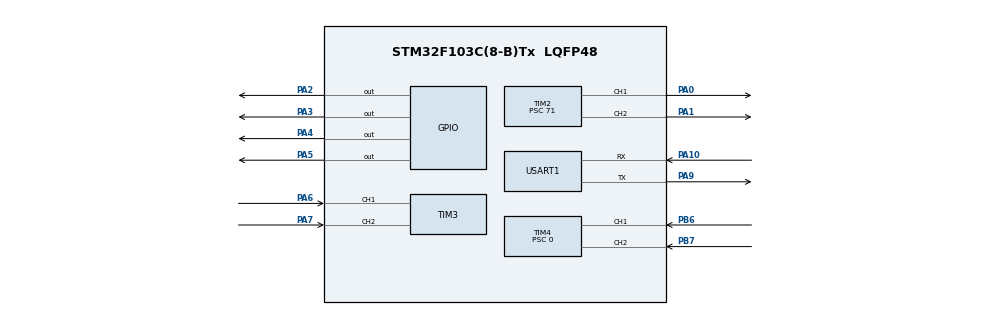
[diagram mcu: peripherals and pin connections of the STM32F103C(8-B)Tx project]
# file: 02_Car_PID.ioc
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Mcu.Family=STM32F1
Mcu.Name=STM32F103C(8-B)Tx
Mcu.Package=LQFP48
NVIC.PriorityGroup=NVIC_PRIORITYGROUP_4
NVIC.TIM1_UP_IRQn=true\:0\:0\:false\:false\:true\:true\:true\:true
NVIC.TIM4_IRQn=true\:0\:0\:false\:false\:true\:true\:true\:true
PA0-WKUP.Signal=S_TIM2_CH1_ETR
PA1.Signal=S_TIM2_CH2
PA10.Mode=Asynchronous
PA10.Signal=USART1_RX
PA13.Mode=Serial_Wire
PA13.Signal=SYS_JTMS-SWDIO
PA14.Mode=Serial_Wire
PA14.Signal=SYS_JTCK-SWCLK
PA2.Signal=GPIO_Output
PA3.Signal=GPIO_Output
PA4.Signal=GPIO_Output
PA5.Signal=GPIO_Output
PA6.Signal=S_TIM3_CH1
PA7.Signal=S_TIM3_CH2
PA9.Mode=Asynchronous
PA9.Signal=USART1_TX
PB6.Signal=S_TIM4_CH1
PB7.Signal=S_TIM4_CH2
ProjectManager.HeapSize=0x200
ProjectManager.StackSize=0x400
ProjectManager.TargetToolchain=STM32CubeIDE
RCC.APB1Freq_Value=8000000
RCC.APB2Freq_Value=8000000
SH.S_TIM2_CH1_ETR.0=TIM2_CH1,PWM Generation1 CH1
SH.S_TIM2_CH2.0=TIM2_CH2,PWM Generation2 CH2
SH.S_TIM3_CH1.0=TIM3_CH1,Encoder_Interface
SH.S_TIM3_CH2.0=TIM3_CH2,Encoder_Interface
SH.S_TIM4_CH1.0=TIM4_CH1,Encoder_Interface
SH.S_TIM4_CH2.0=TIM4_CH2,Encoder_Interface
TIM1.Period=99
TIM1.Prescaler=7199
TIM2.Channel-PWM\ Generation1\ CH1=TIM_CHANNEL_1
TIM2.Channel-PWM\ Generation2\ CH2=TIM_CHANNEL_2
TIM2.Period=999
TIM2.Prescaler=71
TIM4.Prescaler=0
USART1.VirtualMode=VM_ASYNC
VP_TIM1_VS_ClockSourceINT.Mode=Internal
board=custom

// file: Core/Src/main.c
/* USER CODE BEGIN Header */
/**
  ******************************************************************************
  * @file           : main.c
  * @brief          : Main program body
  ******************************************************************************
  * @attention
  *
  * Copyright (c) 2026 STMicroelectronics.
  * All rights reserved.
  *
  * This software is licensed under terms that can be found in the LICENSE file
  * in the root directory of this software component.
  * If no LICENSE file comes with this software, it is provided AS-IS.
  *
  ******************************************************************************
  */
/* USER CODE END Header */
#include "main.h"

/* USER CODE BEGIN Includes */
#include <stdio.h>
#include <string.h>

/* USER CODE END Includes */

TIM_HandleTypeDef htim1;
TIM_HandleTypeDef htim2;
TIM_HandleTypeDef htim3;
TIM_HandleTypeDef htim4;

UART_HandleTypeDef huart1;

/* USER CODE BEGIN PV */
typedef struct {
    float Kp, Ki, Kd;
    float target;
    float error, last_error;
    float integral;
    float output;
    float output_max;
} PID;

PID left_pid;
volatile float left_current_rpm = 0;
PID right_pid;
volatile float right_current_rpm = 0;
volatile uint8_t pid_ready = 0;
#define PULSES_PER_REV 1456.0f

/* USER CODE END PV */

void SystemClock_Config(void);
static void MX_GPIO_Init(void);
static void MX_TIM1_Init(void);
static void MX_TIM2_Init(void);
static void MX_TIM3_Init(void);
static void MX_TIM4_Init(void);
static void MX_USART1_UART_Init(void);

/* USER CODE BEGIN 0 */
void PID_Calc(PID *pid, float current_rpm)
{
    pid->error = pid->target - current_rpm;
    pid->integral += pid->error;

    if (pid->integral > 500.0f) pid->integral = 500.0f;
    if (pid->integral < -100.0f) pid->integral = -100.0f;

    float output = 275.0f;
    output += pid->Kp * pid->error;
    output += pid->Ki * pid->integral;
    output += pid->Kd * (pid->error - pid->last_error);

    if (output > 900.0f) output = 900.0f;
    if (output < 0.0f)   output = 0.0f;

    pid->output = output;
    pid->last_error = pid->error;
}
/* USER CODE END 0 */

int main(void)
{

  /* MCU Configuration--------------------------------------------------------*/

  /* Reset of all peripherals, Initializes the Flash interface and the Systick. */
  HAL_Init();

  /* Configure the system clock */
  SystemClock_Config();

  /* Initialize all configured peripherals */
  MX_GPIO_Init();
  MX_TIM1_Init();
  MX_TIM2_Init();
  MX_TIM3_Init();
  MX_TIM4_Init();
  MX_USART1_UART_Init();
  /* USER CODE BEGIN 2 */
  // 手动开启编码器引脚上拉
  GPIOA->ODR |= (GPIO_PIN_6 | GPIO_PIN_7);
  GPIOB->ODR |= (GPIO_PIN_6 | GPIO_PIN_7);

  // 启动编码器：左轮TIM3，右轮TIM4
  HAL_TIM_Encoder_Start(&htim3, TIM_CHANNEL_ALL);
  HAL_TIM_Encoder_Start(&htim4, TIM_CHANNEL_ALL);

  // 启动PWM
  HAL_TIM_PWM_Start(&htim2, TIM_CHANNEL_1);
  HAL_TIM_PWM_Start(&htim2, TIM_CHANNEL_2);

  // 启动PID定时中断（TIM1，10ms）
  HAL_TIM_Base_Start_IT(&htim1);

  // 左轮PID参数
  left_pid.Kp = 2.5f;
  left_pid.Ki = 0.2f;
  left_pid.Kd = 0.1f;
  left_pid.target = 100.0f;
  left_pid.output_max = 999.0f;
  left_pid.integral = 0;
  left_pid.last_error = 0;

  // 右轮PID参数（Kp和Ki调大，给右轮更多动力）
  right_pid.Kp = 2.0;   // 从1.5调大到2.5
  right_pid.Ki = 0.3f;   // 从0.2调大到0.3
  right_pid.Kd = 0.1f;
  right_pid.target = 100.0f;
  right_pid.output_max = 999.0f;
  right_pid.integral = 0;
  right_pid.last_error = 0;

  // 方向：正转
  HAL_GPIO_WritePin(GPIOA, GPIO_PIN_2, GPIO_PIN_SET);
  HAL_GPIO_WritePin(GPIOA, GPIO_PIN_3, GPIO_PIN_RESET);
  HAL_GPIO_WritePin(GPIOA, GPIO_PIN_4, GPIO_PIN_SET);
  HAL_GPIO_WritePin(GPIOA, GPIO_PIN_5, GPIO_PIN_RESET);

  // 启动消息
  char *msg = "PID Ready\r\n";
  HAL_UART_Transmit(&huart1, (uint8_t*)msg, strlen(msg), HAL_MAX_DELAY);
  /* USER CODE END 2 */

  /* Infinite loop */
  /* USER CODE BEGIN WHILE */
  while (1)
  {
	  if (pid_ready)
	    {
	      pid_ready = 0;

	      // 左轮编码器（TIM3）
	      static int32_t left_last = 0;
	      int32_t left_now = __HAL_TIM_GET_COUNTER(&htim3);
	      int32_t left_delta = left_now - left_last;
	      left_last = left_now;

	      if (left_delta > 80 || left_delta < -80) {
	          left_delta = 0;
	      }
	      left_current_rpm = -(left_delta * 6000.0f) / PULSES_PER_REV;

	      // 左轮PID计算
	      PID_Calc(&left_pid, left_current_rpm);
	      __HAL_TIM_SET_COMPARE(&htim2, TIM_CHANNEL_1, (uint16_t)left_pid.output);

	      // 右轮直接复制左轮PWM，不读编码器
	      __HAL_TIM_SET_COMPARE(&htim2, TIM_CHANNEL_2, (uint16_t)left_pid.output);

	      // 打印左轮转速
	      static uint32_t cnt = 0;
	      cnt++;
	      if (cnt >= 50)
	      {
	        cnt = 0;
	        int32_t la = (int32_t)(left_current_rpm * 100);
	        char buf[40];
	        int len;
	        if (la < 0) {
	          la = -la;
	          len = sprintf(buf, "Speed: -%ld.%02ld\r\n", la / 100, la % 100);
	        } else {
	          len = sprintf(buf, "Speed: %ld.%02ld\r\n", la / 100, la % 100);
	        }
	        HAL_UART_Transmit(&huart1, (uint8_t*)buf, len, HAL_MAX_DELAY);
	      }
	    }
    /* USER CODE END WHILE */
  }
  }

void SystemClock_Config(void)
{
  RCC_OscInitTypeDef RCC_OscInitStruct = {0};
  RCC_ClkInitTypeDef RCC_ClkInitStruct = {0};

  /** Initializes the RCC Oscillators according to the specified parameters
  * in the RCC_OscInitTypeDef structure.
  */
  RCC_OscInitStruct.OscillatorType = RCC_OSCILLATORTYPE_HSI;
  RCC_OscInitStruct.HSIState = RCC_HSI_ON;
  RCC_OscInitStruct.HSICalibrationValue = RCC_HSICALIBRATION_DEFAULT;
  RCC_OscInitStruct.PLL.PLLState = RCC_PLL_NONE;
  if (HAL_RCC_OscConfig(&RCC_OscInitStruct) != HAL_OK)
  {
    Error_Handler();
  }

  /** Initializes the CPU, AHB and APB buses clocks
  */
  RCC_ClkInitStruct.ClockType = RCC_CLOCKTYPE_HCLK|RCC_CLOCKTYPE_SYSCLK
                              |RCC_CLOCKTYPE_PCLK1|RCC_CLOCKTYPE_PCLK2;
  RCC_ClkInitStruct.SYSCLKSource = RCC_SYSCLKSOURCE_HSI;
  RCC_ClkInitStruct.AHBCLKDivider = RCC_SYSCLK_DIV1;
  RCC_ClkInitStruct.APB1CLKDivider = RCC_HCLK_DIV1;
  RCC_ClkInitStruct.APB2CLKDivider = RCC_HCLK_DIV1;

  if (HAL_RCC_ClockConfig(&RCC_ClkInitStruct, FLASH_LATENCY_0) != HAL_OK)
  {
    Error_Handler();
  }
}

static void MX_TIM1_Init(void)
{

  TIM_ClockConfigTypeDef sClockSourceConfig = {0};
  TIM_MasterConfigTypeDef sMasterConfig = {0};

  htim1.Instance = TIM1;
  htim1.Init.Prescaler = 7199;
  htim1.Init.CounterMode = TIM_COUNTERMODE_UP;
  htim1.Init.Period = 99;
  htim1.Init.ClockDivision = TIM_CLOCKDIVISION_DIV1;
  htim1.Init.RepetitionCounter = 0;
  htim1.Init.AutoReloadPreload = TIM_AUTORELOAD_PRELOAD_DISABLE;
  if (HAL_TIM_Base_Init(&htim1) != HAL_OK)
  {
    Error_Handler();
  }
  sClockSourceConfig.ClockSource = TIM_CLOCKSOURCE_INTERNAL;
  if (HAL_TIM_ConfigClockSource(&htim1, &sClockSourceConfig) != HAL_OK)
  {
    Error_Handler();
  }
  sMasterConfig.MasterOutputTrigger = TIM_TRGO_RESET;
  sMasterConfig.MasterSlaveMode = TIM_MASTERSLAVEMODE_DISABLE;
  if (HAL_TIMEx_MasterConfigSynchronization(&htim1, &sMasterConfig) != HAL_OK)
  {
    Error_Handler();
  }

}

static void MX_TIM2_Init(void)
{

  TIM_MasterConfigTypeDef sMasterConfig = {0};
  TIM_OC_InitTypeDef sConfigOC = {0};

  htim2.Instance = TIM2;
  htim2.Init.Prescaler = 71;
  htim2.Init.CounterMode = TIM_COUNTERMODE_UP;
  htim2.Init.Period = 999;
  htim2.Init.ClockDivision = TIM_CLOCKDIVISION_DIV1;
  htim2.Init.AutoReloadPreload = TIM_AUTORELOAD_PRELOAD_DISABLE;
  if (HAL_TIM_PWM_Init(&htim2) != HAL_OK)
  {
    Error_Handler();
  }
  sMasterConfig.MasterOutputTrigger = TIM_TRGO_RESET;
  sMasterConfig.MasterSlaveMode = TIM_MASTERSLAVEMODE_DISABLE;
  if (HAL_TIMEx_MasterConfigSynchronization(&htim2, &sMasterConfig) != HAL_OK)
  {
    Error_Handler();
  }
  sConfigOC.OCMode = TIM_OCMODE_PWM1;
  sConfigOC.Pulse = 0;
  sConfigOC.OCPolarity = TIM_OCPOLARITY_HIGH;
  sConfigOC.OCFastMode = TIM_OCFAST_DISABLE;
  if (HAL_TIM_PWM_ConfigChannel(&htim2, &sConfigOC, TIM_CHANNEL_1) != HAL_OK)
  {
    Error_Handler();
  }
  if (HAL_TIM_PWM_ConfigChannel(&htim2, &sConfigOC, TIM_CHANNEL_2) != HAL_OK)
  {
    Error_Handler();
  }
  HAL_TIM_MspPostInit(&htim2);

}

static void MX_TIM3_Init(void)
{

  TIM_Encoder_InitTypeDef sConfig = {0};
  TIM_MasterConfigTypeDef sMasterConfig = {0};

  htim3.Instance = TIM3;
  htim3.Init.Prescaler = 0;
  htim3.Init.CounterMode = TIM_COUNTERMODE_UP;
  htim3.Init.Period = 65535;
  htim3.Init.ClockDivision = TIM_CLOCKDIVISION_DIV1;
  htim3.Init.AutoReloadPreload = TIM_AUTORELOAD_PRELOAD_DISABLE;
  sConfig.EncoderMode = TIM_ENCODERMODE_TI1;
  sConfig.IC1Polarity = TIM_ICPOLARITY_RISING;
  sConfig.IC1Selection = TIM_ICSELECTION_DIRECTTI;
  sConfig.IC1Prescaler = TIM_ICPSC_DIV1;
  sConfig.IC1Filter = 0;
  sConfig.IC2Polarity = TIM_ICPOLARITY_RISING;
  sConfig.IC2Selection = TIM_ICSELECTION_DIRECTTI;
  sConfig.IC2Prescaler = TIM_ICPSC_DIV1;
  sConfig.IC2Filter = 0;
  if (HAL_TIM_Encoder_Init(&htim3, &sConfig) != HAL_OK)
  {
    Error_Handler();
  }
  sMasterConfig.MasterOutputTrigger = TIM_TRGO_RESET;
  sMasterConfig.MasterSlaveMode = TIM_MASTERSLAVEMODE_DISABLE;
  if (HAL_TIMEx_MasterConfigSynchronization(&htim3, &sMasterConfig) != HAL_OK)
  {
    Error_Handler();
  }

}

static void MX_TIM4_Init(void)
{

  TIM_Encoder_InitTypeDef sConfig = {0};
  TIM_MasterConfigTypeDef sMasterConfig = {0};

  htim4.Instance = TIM4;
  htim4.Init.Prescaler = 0;
  htim4.Init.CounterMode = TIM_COUNTERMODE_UP;
  htim4.Init.Period = 65535;
  htim4.Init.ClockDivision = TIM_CLOCKDIVISION_DIV1;
  htim4.Init.AutoReloadPreload = TIM_AUTORELOAD_PRELOAD_DISABLE;
  sConfig.EncoderMode = TIM_ENCODERMODE_TI1;
  sConfig.IC1Polarity = TIM_ICPOLARITY_RISING;
  sConfig.IC1Selection = TIM_ICSELECTION_DIRECTTI;
  sConfig.IC1Prescaler = TIM_ICPSC_DIV1;
  sConfig.IC1Filter = 0;
  sConfig.IC2Polarity = TIM_ICPOLARITY_RISING;
  sConfig.IC2Selection = TIM_ICSELECTION_DIRECTTI;
  sConfig.IC2Prescaler = TIM_ICPSC_DIV1;
  sConfig.IC2Filter = 0;
  if (HAL_TIM_Encoder_Init(&htim4, &sConfig) != HAL_OK)
  {
    Error_Handler();
  }
  sMasterConfig.MasterOutputTrigger = TIM_TRGO_RESET;
  sMasterConfig.MasterSlaveMode = TIM_MASTERSLAVEMODE_DISABLE;
  if (HAL_TIMEx_MasterConfigSynchronization(&htim4, &sMasterConfig) != HAL_OK)
  {
    Error_Handler();
  }

}

static void MX_USART1_UART_Init(void)
{

  huart1.Instance = USART1;
  huart1.Init.BaudRate = 115200;
  huart1.Init.WordLength = UART_WORDLENGTH_8B;
  huart1.Init.StopBits = UART_STOPBITS_1;
  huart1.Init.Parity = UART_PARITY_NONE;
  huart1.Init.Mode = UART_MODE_TX_RX;
  huart1.Init.HwFlowCtl = UART_HWCONTROL_NONE;
  huart1.Init.OverSampling = UART_OVERSAMPLING_16;
  if (HAL_UART_Init(&huart1) != HAL_OK)
  {
    Error_Handler();
  }

}

static void MX_GPIO_Init(void)
{
  GPIO_InitTypeDef GPIO_InitStruct = {0};

  /* GPIO Ports Clock Enable */
  __HAL_RCC_GPIOA_CLK_ENABLE();
  __HAL_RCC_GPIOB_CLK_ENABLE();

  /*Configure GPIO pin Output Level */
  HAL_GPIO_WritePin(GPIOA, GPIO_PIN_2|GPIO_PIN_3|GPIO_PIN_4|GPIO_PIN_5, GPIO_PIN_RESET);

  /*Configure GPIO pins : PA2 PA3 PA4 PA5 */
  GPIO_InitStruct.Pin = GPIO_PIN_2|GPIO_PIN_3|GPIO_PIN_4|GPIO_PIN_5;
  GPIO_InitStruct.Mode = GPIO_MODE_OUTPUT_PP;
  GPIO_InitStruct.Pull = GPIO_NOPULL;
  GPIO_InitStruct.Speed = GPIO_SPEED_FREQ_LOW;
  HAL_GPIO_Init(GPIOA, &GPIO_InitStruct);

}

/* USER CODE BEGIN 4 */
void HAL_TIM_PeriodElapsedCallback(TIM_HandleTypeDef *htim)
{
  if (htim->Instance == TIM1) pid_ready = 1;
}

/* USER CODE END 4 */

void Error_Handler(void)
{
  __disable_irq();
  while (1)
  {
  }
}
